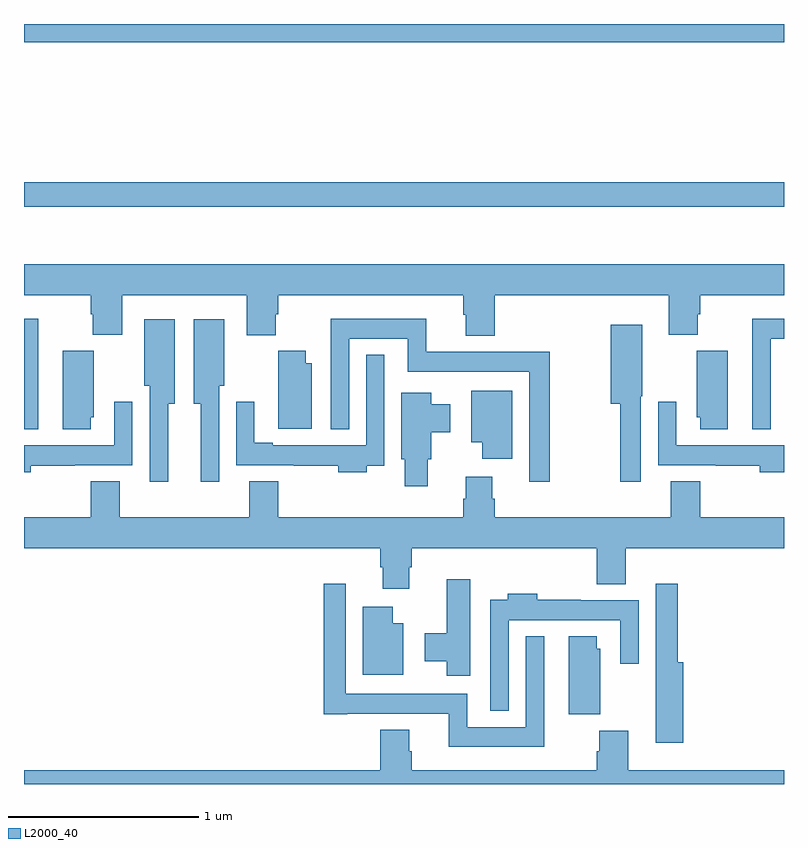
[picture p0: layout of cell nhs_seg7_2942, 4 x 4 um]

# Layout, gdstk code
import gdstk
lib = gdstk.Library(unit=1e-6, precision=1e-09)
def R(c, l, rs):  # rectangles x0, y0, x1, y1
    for r in rs: c.add(gdstk.rectangle(r[:2], r[2:], *l))
def P(c, l, *ps):  # polygons
    for p in ps: c.add(gdstk.Polygon(p, *l))
L2000_40 = (2000, 40)

nhs_seg7_2942 = lib.new_cell('nhs_seg7_2942')
R(nhs_seg7_2942, L2000_40, [(299,1043.867,299.074,1044.448), (299,1045.038,303,1045.166), (299,1045.904,303,1046)])
P(nhs_seg7_2942, L2000_40, [(301.478,1044.572),(302.393,1044.572),(302.393,1044.364),(302.545,1044.364),(302.545,1044.473),(302.558,1044.473),(302.558,1044.572),(303,1044.572),(303,1044.736),(299,1044.736),(299,1044.572),(299.351,1044.572),(299.351,1044.473),(299.363,1044.473),(299.363,1044.364),(299.516,1044.364),(299.516,1044.572),(300.173,1044.572),(300.173,1044.363),(300.325,1044.363),(300.325,1044.473),(300.338,1044.473),(300.338,1044.572),(301.313,1044.572),(301.313,1044.471),(301.325,1044.471),(301.325,1044.359),(301.478,1044.359)],
  [(302.931,1044.344),(303,1044.344),(303,1044.448),(302.834,1044.448),(302.834,1043.867),(302.931,1043.867)],
  [(301.768,1044.274),(301.118,1044.274),(301.118,1044.448),(300.615,1044.448),(300.615,1043.867),(300.711,1043.867),(300.711,1044.344),(301.02,1044.344),(301.02,1044.17),(301.659,1044.17),(301.659,1043.592),(301.768,1043.592)],
  [(299.758,1044.002),(299.794,1044.002),(299.794,1044.445),(299.633,1044.445),(299.633,1044.096),(299.661,1044.096),(299.661,1043.592),(299.758,1043.592)],
  [(300.027,1044.096),(300.055,1044.096),(300.055,1044.445),(299.894,1044.445),(299.894,1044.002),(299.93,1044.002),(299.93,1043.592),(300.027,1043.592)],
  [(302.247,1044.042),(302.254,1044.042),(302.254,1044.418),(302.089,1044.418),(302.089,1044.002),(302.139,1044.002),(302.139,1043.592),(302.247,1043.592)],
  [(299.35,1043.931),(299.368,1043.931),(299.368,1044.279),(299.204,1044.279),(299.204,1043.868),(299.35,1043.868)],
  [(300.514,1044.214),(300.484,1044.214),(300.484,1044.279),(300.338,1044.279),(300.338,1043.974),(300.339,1043.974),(300.339,1043.871),(300.514,1043.871)],
  [(302.704,1044.279),(302.54,1044.279),(302.54,1043.931),(302.558,1043.931),(302.558,1043.868),(302.704,1043.868)],
  [(300.805,1043.676),(300.897,1043.676),(300.897,1044.259),(300.801,1044.259),(300.801,1043.782),(300.31,1043.782),(300.31,1043.795),(300.213,1043.795),(300.213,1044.013),(300.117,1044.013),(300.117,1043.678),(300.421,1043.678),(300.421,1043.676),(300.653,1043.676),(300.653,1043.642),(300.805,1043.642)],
  [(301.57,1044.07),(301.355,1044.07),(301.355,1043.798),(301.412,1043.798),(301.412,1043.712),(301.57,1043.712)],
  [(301.126,1043.709),(301.144,1043.709),(301.144,1043.851),(301.243,1043.851),(301.243,1043.998),(301.144,1043.998),(301.144,1044.058),(300.986,1044.058),(300.986,1043.709),(301.004,1043.709),(301.004,1043.568),(301.126,1043.568)],
  [(303,1043.782),(302.433,1043.782),(302.433,1044.013),(302.337,1044.013),(302.337,1043.678),(302.641,1043.678),(302.641,1043.676),(302.873,1043.676),(302.873,1043.642),(303,1043.642)],
  [(299.036,1043.676),(299.267,1043.676),(299.267,1043.678),(299.571,1043.678),(299.571,1044.013),(299.475,1044.013),(299.475,1043.782),(299,1043.782),(299,1043.642),(299.036,1043.642)],
  [(301.027,1043.142),(301.04,1043.142),(301.04,1043.24),(302.015,1043.24),(302.015,1043.051),(302.167,1043.051),(302.167,1043.24),(303,1043.24),(303,1043.404),(302.558,1043.404),(302.558,1043.593),(302.405,1043.593),(302.405,1043.404),(301.478,1043.404),(301.478,1043.502),(301.465,1043.502),(301.465,1043.617),(301.325,1043.617),(301.325,1043.502),(301.313,1043.502),(301.313,1043.404),(300.338,1043.404),(300.338,1043.593),(300.185,1043.593),(300.185,1043.404),(299.503,1043.404),(299.503,1043.593),(299.351,1043.593),(299.351,1043.404),(299,1043.404),(299,1043.24),(300.875,1043.24),(300.875,1043.142),(300.887,1043.142),(300.887,1043.028),(301.027,1043.028)],
  [(301.348,1043.077),(301.226,1043.077),(301.226,1042.794),(301.109,1042.794),(301.109,1042.646),(301.226,1042.646),(301.226,1042.569),(301.348,1042.569)],
  [(301.738,1042.777),(301.641,1042.777),(301.641,1042.3),(301.332,1042.3),(301.332,1042.474),(300.693,1042.474),(300.693,1043.053),(300.577,1043.053),(300.577,1042.368),(300.7,1042.368),(300.7,1042.37),(301.235,1042.37),(301.235,1042.196),(301.738,1042.196)],
  [(302.471,1042.642),(302.441,1042.642),(302.441,1043.053),(302.325,1043.053),(302.325,1042.538),(302.324,1042.538),(302.324,1042.218),(302.471,1042.218)],
  [(301.551,1042.862),(302.139,1042.862),(302.139,1042.632),(302.235,1042.632),(302.235,1042.966),(301.931,1042.966),(301.931,1042.969),(301.7,1042.969),(301.7,1043.002),(301.547,1043.002),(301.547,1042.969),(301.455,1042.969),(301.455,1042.385),(301.551,1042.385)],
  [(300.997,1042.846),(300.94,1042.846),(300.94,1042.933),(300.782,1042.933),(300.782,1042.574),(300.997,1042.574)],
  [(302.032,1042.713),(302.014,1042.713),(302.014,1042.777),(301.868,1042.777),(301.868,1042.366),(302.032,1042.366)],
  [(303,1042.072),(302.18,1042.072),(302.18,1042.281),(302.027,1042.281),(302.027,1042.172),(302.015,1042.172),(302.015,1042.072),(301.04,1042.072),(301.04,1042.173),(301.027,1042.173),(301.027,1042.285),(300.875,1042.285),(300.875,1042.072),(299,1042.072),(299,1042),(303,1042)])

lib.write_gds('nhs_seg7_2942.gds')
